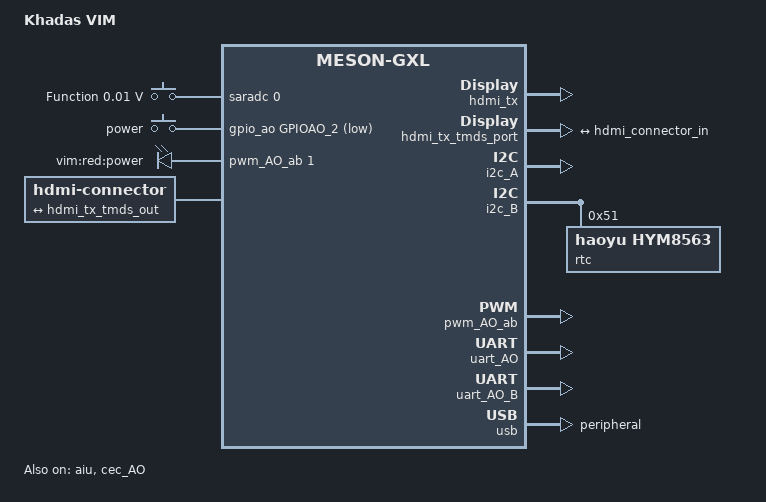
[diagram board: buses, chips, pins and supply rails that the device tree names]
// SPDX-License-Identifier: (GPL-2.0+ OR MIT)
/*
 * Copyright (c) 2017 Martin Blumenstingl <martin.blumenstingl@googlemail.com>.
 */

/dts-v1/;

#include "meson-gxl-s905x-p212.dtsi"
#include <dt-bindings/input/input.h>
#include <dt-bindings/sound/meson-aiu.h>

/ {
	compatible = "khadas,vim", "amlogic,s905x", "amlogic,meson-gxl";
	model = "Khadas VIM";

	adc-keys {
		compatible = "adc-keys";
		io-channels = <&saradc 0>;
		io-channel-names = "buttons";
		keyup-threshold-microvolt = <1710000>;

		button-function {
			label = "Function";
			linux,code = <KEY_FN>;
			press-threshold-microvolt = <10000>;
		};
	};

	aliases {
		serial2 = &uart_AO_B;
		ethernet0 = &ethmac;
	};

	gpio-keys-polled {
		compatible = "gpio-keys-polled";
		poll-interval = <100>;

		power-button {
			label = "power";
			linux,code = <KEY_POWER>;
			gpios = <&gpio_ao GPIOAO_2 GPIO_ACTIVE_LOW>;
		};
	};

	led-controller {
		compatible = "pwm-leds";

		led-1 {
			label = "vim:red:power";
			pwms = <&pwm_AO_ab 1 7812500 0>;
			max-brightness = <255>;
			linux,default-trigger = "default-on";
		};
	};

	hdmi-connector {
		compatible = "hdmi-connector";
		type = "a";

		port {
			hdmi_connector_in: endpoint {
				remote-endpoint = <&hdmi_tx_tmds_out>;
			};
		};
	};

	sound {
		compatible = "amlogic,gx-sound-card";
		model = "KHADAS-VIM";
		assigned-clocks = <&clkc CLKID_MPLL0>,
				  <&clkc CLKID_MPLL1>,
				  <&clkc CLKID_MPLL2>;
		assigned-clock-parents = <0>, <0>, <0>;
		assigned-clock-rates = <294912000>,
				       <270950400>,
				       <393216000>;

		dai-link-0 {
			sound-dai = <&aiu AIU_CPU CPU_I2S_FIFO>;
		};

		dai-link-1 {
			sound-dai = <&aiu AIU_CPU CPU_I2S_ENCODER>;
			dai-format = "i2s";
			mclk-fs = <256>;

			codec-0 {
				sound-dai = <&aiu AIU_HDMI CTRL_I2S>;
			};
		};

		dai-link-2 {
			sound-dai = <&aiu AIU_HDMI CTRL_OUT>;

			codec-0 {
				sound-dai = <&hdmi_tx>;
			};
		};
	};
};

&aiu {
	status = "okay";
};

&cec_AO {
	status = "okay";
	pinctrl-0 = <&ao_cec_pins>;
	pinctrl-names = "default";
	hdmi-phandle = <&hdmi_tx>;
};

&hdmi_tx {
	status = "okay";
	pinctrl-0 = <&hdmi_hpd_pins>, <&hdmi_i2c_pins>;
	pinctrl-names = "default";
	hdmi-supply = <&hdmi_5v>;
};

&hdmi_tx_tmds_port {
	hdmi_tx_tmds_out: endpoint {
		remote-endpoint = <&hdmi_connector_in>;
	};
};

&i2c_A {
	status = "okay";
	pinctrl-0 = <&i2c_a_pins>;
	pinctrl-names = "default";
};

&i2c_B {
	status = "okay";
	pinctrl-0 = <&i2c_b_pins>;
	pinctrl-names = "default";

	rtc: rtc@51 {
		status = "okay";
		compatible = "haoyu,hym8563";
		reg = <0x51>;
		#clock-cells = <0>;
		clock-output-names = "xin32k";
	};
};

&ir {
	linux,rc-map-name = "rc-khadas";
};

&gpio_ao {
	gpio-line-names = "UART TX",
			  "UART RX",
			  "Power Key In",
			  "J9 Header Pin35",
			  "J9 Header Pin16",
			  "J9 Header Pin15",
			  "J9 Header Pin33",
			  "IR In",
			  "HDMI CEC",
			  "SYS LED",
			  /* GPIO_TEST_N */
			  "";
};

&gpio {
	gpio-line-names = /* Bank GPIOZ */
			  "", "", "", "", "", "", "",
			  "", "", "", "", "", "", "",
			  "Power OFF",
			  "VCCK Enable",
			  /* Bank GPIOH */
			  "HDMI HPD", "HDMI SDA", "HDMI SCL",
			  "HDMI_5V_EN", "SPDIF",
			  "J9 Header Pin37",
			  "J9 Header Pin30",
			  "J9 Header Pin29",
			  "J9 Header Pin32",
			  "J9 Header Pin31",
			  /* Bank BOOT */
			  "eMMC D0", "eMMC D1", "eMMC D2", "eMMC D3",
			  "eMMC D4", "eMMC D5", "eMMC D6", "eMMC D7",
			  "eMMC Clk", "eMMC Reset", "eMMC CMD",
			  "", "BOOT_MODE", "", "", "eMMC Data Strobe",
			  /* Bank CARD */
			  "SDCard D1", "SDCard D0", "SDCard CLK", "SDCard CMD",
			  "SDCard D3", "SDCard D2", "SDCard Det",
			  /* Bank GPIODV */
			  "", "", "", "", "", "", "", "", "", "", "", "",
			  "", "", "", "", "", "", "", "", "", "", "", "",
			  "I2C A SDA", "I2C A SCK", "I2C B SDA", "I2C B SCK",
			  "VCCK Regulator", "VDDEE Regulator",
			  /* Bank GPIOX */
			  "WIFI SDIO D0", "WIFI SDIO D1", "WIFI SDIO D2",
			  "WIFI SDIO D3", "WIFI SDIO CLK", "WIFI SDIO CMD",
			  "WIFI Power Enable", "WIFI WAKE HOST",
			  "Bluetooth PCM DOUT", "Bluetooth PCM DIN",
			  "Bluetooth PCM SYNC", "Bluetooth PCM CLK",
			  "Bluetooth UART TX", "Bluetooth UART RX",
			  "Bluetooth UART CTS", "Bluetooth UART RTS",
			  "WIFI 32K", "Bluetooth Enable",
			  "Bluetooth WAKE HOST",
			  /* Bank GPIOCLK */
			  "", "J9 Header Pin39";
};

&pwm_AO_ab {
	status = "okay";
	pinctrl-0 = <&pwm_ao_a_3_pins>, <&pwm_ao_b_pins>;
	pinctrl-names = "default";
	clocks = <&xtal> , <&xtal>;
	clock-names = "clkin0", "clkin1" ;
};

&pwm_ef {
	pinctrl-0 = <&pwm_e_pins>, <&pwm_f_clk_pins>;
};

&sd_emmc_a {
	max-frequency = <100000000>;
};

/* This is brought out on the Linux_RX (18) and Linux_TX (19) pins: */
&uart_AO {
	status = "okay";
};

/* This is brought out on the UART_RX_AO_B (15) and UART_TX_AO_B (16) pins: */
&uart_AO_B {
	status = "okay";
	pinctrl-0 = <&uart_ao_b_pins>;
	pinctrl-names = "default";
};

&usb {
	dr_mode = "peripheral";
};
